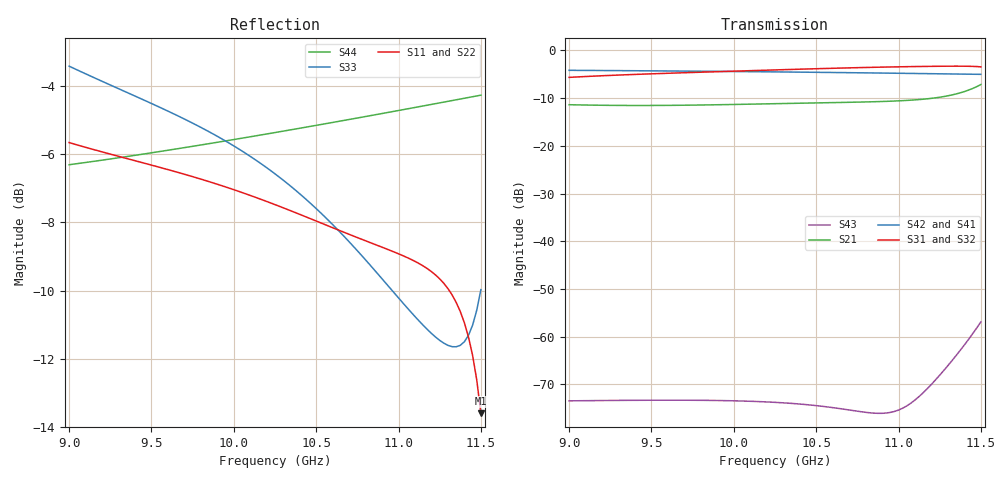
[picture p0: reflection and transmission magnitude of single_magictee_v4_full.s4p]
! Generated from PyAEDT SolutionData; AEDT ExportNetworkData workaround
# GHz S MA R 50
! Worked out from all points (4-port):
!   101 points, 9 GHz to 11.5 GHz, reference 50 ohm
!   strongest paths, dB at 9 GHz, 9.625 GHz, 10.25 GHz, 10.88 GHz, 11.5 GHz:
!     S31: -5.6, -4.8, -4.1, -3.5, -3.4
!     S32: -5.7, -4.8, -4.1, -3.5, -3.5
!     S42: -4.2, -4.3, -4.5, -4.7, -5.0
!     S41: -4.2, -4.3, -4.5, -4.8, -5.1
!     S21: -11.4, -11.5, -11.2, -10.7, -7.1
!     S43: -73.4, -73.3, -73.8, -76.1, -56.9
!   lowest |S11| = -13.6 dB at 11.5 GHz (marker M1), VSWR 1.53, Z = 38.9 + j15.2 ohm
!   |S11| at or under -10 dB: 11.31 GHz to end of sweep
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9  0.5213 30.6  0.27 -36.2  0.5222 -0.6  0.6186 42.6
   0.27 -36.2  0.5213 30.8  0.5216 -0.5  0.6191 -137.4
   0.5222 -0.6  0.5216 -0.5  0.6747 169.9  0.0002126 77.1
   0.6186 42.6  0.6191 -137.4  0.0002126 77.1  0.4838 -156.4
9.325  0.4958 -8.4  0.2653 -82.9  0.5543 -59.5  0.6135 6.0
       0.2653 -82.9  0.4958 -8.2  0.5536 -59.4  0.6142 -173.9
       0.5543 -59.5  0.5536 -59.4  0.6215 93.8  0.000215 23.5
       0.6135 6.0  0.6142 -173.9  0.000215 23.5  0.4963 169.3
9.7  0.4684 -51.7  0.2668 -135.2  0.5842 -125.0  0.6068 -35.0
     0.2668 -135.2  0.4685 -51.5  0.5833 -125.0  0.6076 145.1
     0.5842 -125.0  0.5833 -125.0  0.5644 9.6  0.0002158 -35.4
     0.6068 -35.0  0.6076 145.1  0.0002158 -35.4  0.5125 130.6
10.125  0.4339 -98.7  0.2741 166.5  0.6158 162.5  0.5978 -80.1
        0.2741 166.5  0.4341 -98.4  0.6146 162.6  0.5989 100.1
        0.6158 162.5  0.6146 162.6  0.493 -82.7  0.0002097 -98.3
        0.5978 -80.1  0.5989 100.1  0.0002097 -98.3  0.5329 87.7
10.6  0.3911 -147.7  0.284 102.1  0.6503 81.9  0.5861 -129.3
      0.284 102.1  0.3915 -147.3  0.6488 82.0  0.5875 50.9
      0.6503 81.9  0.6488 82.0  0.3953 173.7  0.0001806 -157.5
      0.5861 -129.3  0.5875 50.9  0.0001806 -157.5  0.558 40.6
11.1  0.3491 163.9  0.3033 36.4  0.678 -6.2  0.5713 179.9
      0.3033 36.4  0.3501 164.6  0.6755 -6.0  0.5737 0.1
      0.678 -6.2  0.6755 -6.0  0.2898 59.2  0.0002169 -160.5
      0.5713 179.9  0.5737 0.1  0.0002169 -160.5  0.5869 -8.3
11.5  0.209 116.6  0.4393 -19.7  0.6733 -92.0  0.5568 139.7
      0.4393 -19.7  0.213 119.2  0.6678 -91.7  0.5619 -40.1
      0.6733 -92.0  0.6678 -91.7  0.3173 -10.7  0.001429 164.5
      0.5568 139.7  0.5619 -40.1  0.001429 164.5  0.6118 -47.3
